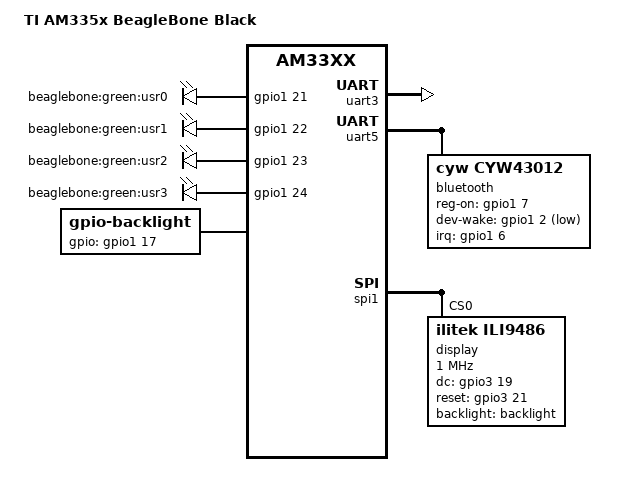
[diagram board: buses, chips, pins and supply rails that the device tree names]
// SPDX-License-Identifier: GPL-2.0-only
/*
 * Copyright (C) 2012 Texas Instruments Incorporated - https://www.ti.com/
 */
/dts-v1/;

#include "am33xx.dtsi"
#include "am335x-bone-common.dtsi"
#include "am335x-boneblack-common.dtsi"
#include "am335x-boneblack-hdmi.dtsi"

/ {
	model = "TI AM335x BeagleBone Black";
	compatible = "ti,am335x-bone-black", "ti,am335x-bone", "ti,am33xx";

	chosen {
		base_dtb = "am335x-boneblack.dts";
		base_dtb_timestamp = __TIMESTAMP__;
	};

	leds {
		pinctrl-names = "default";
		pinctrl-0 = <&user_leds_s0>;

		compatible = "gpio-leds";

		usr_0_led {
			label = "beaglebone:green:usr0";
			gpios = <&gpio1 21 GPIO_ACTIVE_HIGH>;
			linux,default-trigger = "heartbeat";
			default-state = "off";
		};

		usr_1_led {
			label = "beaglebone:green:usr1";
			gpios = <&gpio1 22 GPIO_ACTIVE_HIGH>;
			linux,default-trigger = "mmc0";
			default-state = "off";
		};

		usr_2_led {
			label = "beaglebone:green:usr2";
			gpios = <&gpio1 23 GPIO_ACTIVE_HIGH>;
			linux,default-trigger = "cpu0";
			default-state = "off";
		};

		usr_3_led {
			label = "beaglebone:green:usr3";
			gpios = <&gpio1 24 GPIO_ACTIVE_HIGH>;
			linux,default-trigger = "mmc1";
			default-state = "off";
		};
	};
	/* backlight is optional */
	backlight: backlight {
		pinctrl-names = "default";
		pinctrl-0 = <&backlight_gpio_pins>;
		compatible = "gpio-backlight";
		gpios = <&gpio1 17 GPIO_ACTIVE_HIGH>;
		status = "okay";
		// connect lcd lite pin to P9.23 which is gpio1[17]
		// refer to https://elinux.org/Beagleboard:Cape_Expansion_Headers
		};
};

&cpu0_opp_table {
	/*
	 * All PG 2.0 silicon may not support 1GHz but some of the early
	 * BeagleBone Blacks have PG 2.0 silicon which is guaranteed
	 * to support 1GHz OPP so enable it for PG 2.0 on this board.
	 */
	oppnitro-1000000000 {
		opp-supported-hw = <0x06 0x0100>;
	};
};

&am33xx_pinmux {
	bb_spi0_pins: pinmux_bb_spi0_pins {
		pinctrl-single,pins = <
			AM33XX_PADCONF(AM335X_PIN_SPI0_SCLK, PIN_INPUT, MUX_MODE0)	/* P9_22 (A17) spi0_sclk.spi0_sclk */
			AM33XX_PADCONF(AM335X_PIN_SPI0_D0, PIN_INPUT, MUX_MODE0)	/* P9_21 (B17) spi0_d0.spi0_d0 */
			AM33XX_PADCONF(AM335X_PIN_SPI0_D1, PIN_INPUT, MUX_MODE0)	/* P9_18 (B16) spi0_d1.spi0_d1 */
			AM33XX_PADCONF(AM335X_PIN_SPI0_CS0, PIN_INPUT, MUX_MODE0)	/* P9_17 (A16) spi0_cs0.spi0_cs0 */
		>;
	};
/* default state has all gpios released and mode set to uart1 */
	/* See page 1446 of am35xx TRM */
	bb_spi1_pins: pinmux_bb_spi1_pins {
		pinctrl-single,pins = <
			AM33XX_PADCONF(AM335X_PIN_MCASP0_ACLKX, 	PIN_OUTPUT_PULLUP, 	MUX_MODE3)	/* mcasp0_aclkx.spi1_sclk */
			AM33XX_PADCONF(AM335X_PIN_MCASP0_FSX, 		PIN_INPUT_PULLUP, 	MUX_MODE3)	/* mcasp0_fsx.spi1_d0 *//*MISO*/
			AM33XX_PADCONF(AM335X_PIN_MCASP0_AXR0, 		PIN_OUTPUT_PULLUP, 	MUX_MODE3)	/* mcasp0_axr0.spi1_d1 *//*MOSI*/
			AM33XX_PADCONF(AM335X_PIN_MCASP0_AHCLKR, 	PIN_OUTPUT_PULLUP, 	MUX_MODE3)	/* mcasp0_ahclkr.spi1_cs0 */
			AM33XX_PADCONF(AM335X_PIN_MCASP0_FSR, 		PIN_OUTPUT_PULLUP, 	MUX_MODE7)	/* gpio, dc */
			AM33XX_PADCONF(AM335X_PIN_MCASP0_AHCLKX, 	PIN_OUTPUT_PULLUP, 	MUX_MODE7)	/* gpio, reset */
		>;
	};

	backlight_pwm_pins: pinmux_backlight_pwm_pins {
		pinctrl-single,pins = <
			AM33XX_PADCONF(AM335X_PIN_GPMC_A3, PIN_OUTPUT, MUX_MODE6) /* gpmc_a2.ehrpwm1b */
		>;
	};  /* gpmc_a2.ehrpwm1b */

	backlight_gpio_pins: pinmux_backlight_gpio_pins {
		pinctrl-single,pins = <
			AM33XX_PADCONF(AM335X_PIN_GPMC_A1, PIN_OUTPUT_PULLUP, MUX_MODE7) /*  gpio blacklight*/
		>;
	};

	uart5_gpio_pins: uart5_pinmux_gpio_pins {
		pinctrl-single,pins = <
		AM33XX_PADCONF(AM335X_PIN_LCD_DATA8 , PIN_OUTPUT_PULLUP,   MUX_MODE4) /* uart5.tx*/
		AM33XX_PADCONF(AM335X_PIN_LCD_DATA9 , PIN_INPUT, 		   MUX_MODE4) /* uart5.rx*/
		AM33XX_PADCONF(AM335X_PIN_LCD_DATA15, PIN_OUTPUT_PULLUP,   MUX_MODE6) /* uart5.rts*/
		AM33XX_PADCONF(AM335X_PIN_LCD_DATA14, PIN_INPUT,           MUX_MODE6) /* uart5.cts*/
		>;
	};

	bt_enable_gpio_pin: bt_enable_gpio_pin{
		pinctrl-single,pins = <
			AM33XX_PADCONF(AM335X_PIN_GPMC_AD7 , PIN_OUTPUT_PULLUP,   MUX_MODE7) /* BT-REG-On*/
		>;
	};

	bt_host_wake_gpio_pin: bt_host_wake_gpio_pin{
		pinctrl-single,pins = <
			AM33XX_PADCONF(AM335X_PIN_GPMC_AD6 , PIN_INPUT,   MUX_MODE7) /* BT Host Wake */
		>;
	};

	bt_dev_wake_gpio_pin: bt_dev_wake_gpio_pin{
		pinctrl-single,pins = <
			AM33XX_PADCONF(AM335X_PIN_GPMC_AD2 , PIN_OUTPUT_PULLUP,   MUX_MODE7) /* BT dev wake */
		>;
	};

	uart3_pins: pinmux_uart3_pins {
		pinctrl-single,pins = <
			AM33XX_PADCONF(AM335X_PIN_MII1_RXD3, PIN_INPUT_PULLUP, MUX_MODE1)	/* (L17) gmii1_rxd3.uart3_rxd */
			AM33XX_PADCONF(AM335X_PIN_MII1_RXD2, PIN_OUTPUT_PULLDOWN, MUX_MODE1)	/* (L16) gmii1_rxd2.uart3_txd */
			AM33XX_PADCONF(AM335X_PIN_MDIO, PIN_INPUT, MUX_MODE3)		/* (M17) mdio_data.uart3_ctsn */
			AM33XX_PADCONF(AM335X_PIN_MDC, PIN_OUTPUT_PULLDOWN, MUX_MODE3)	/* (M18) mdio_clk.uart3_rtsn */
		>;
	};

};


&uart3 {
	pinctrl-names = "default";
	pinctrl-0 = <&uart3_pins>;
	status = "okay";
};


&uart5 {
	pinctrl-names = "default";
	pinctrl-0 = <&uart5_gpio_pins &bt_enable_gpio_pin &bt_host_wake_gpio_pin &bt_dev_wake_gpio_pin>;

	status = "okay";

	bluetooth {
		compatible       = "cyw,cyw43012";
		reg-on-gpios	 = <&gpio1 7 GPIO_ACTIVE_HIGH>;
		dev-wake-gpios	 = <&gpio1 2 GPIO_ACTIVE_LOW>;
		interrupt-parent = <&gpio1>;
		interrupts 		 = <6 IRQ_TYPE_EDGE_RISING>;
	};
};


&spi1 {
	#address-cells = <1>;
	#size-cells = <0>;
	status = "okay";
	pinctrl-names = "default";
	pinctrl-0 = <&bb_spi1_pins>;
	/*
	 * Select the D0 pin as output and D1 as
	 * input. The default is D0 as input and
	 * D1 as output.
	 */
	ti,pindir-d0-out-d1-in;

	channel@0{
		status = "disabled";
		reg = <0>;
	};

	display@0{
		status = "okay";
		compatible = "ilitek,ili9486", "waveshare,rpi-lcd-35";
		reg = <0>;
		spi-max-frequency = <1000000>;
		dc-gpios    = <&gpio3 19 0>;   // lcd dc    P9.27 gpio3[19]
		reset-gpios = <&gpio3 21 0>;   // lcd reset P9.25 gpio3[21]
		// backlight is optional
		// choose either pwm or gpio control
		backlight = <&backlight>; // lcd lite  P9.23 gpio1[17]
		// backlight = <&backlight_pwm>;    // lcd lite  P9.16 gpmc_a2.ehrpwm1b
		// refer to https://elinux.org/Beagleboard:Cape_Expansion_Headers
		// rotation is optional
		rotation = <180>;
	};
};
